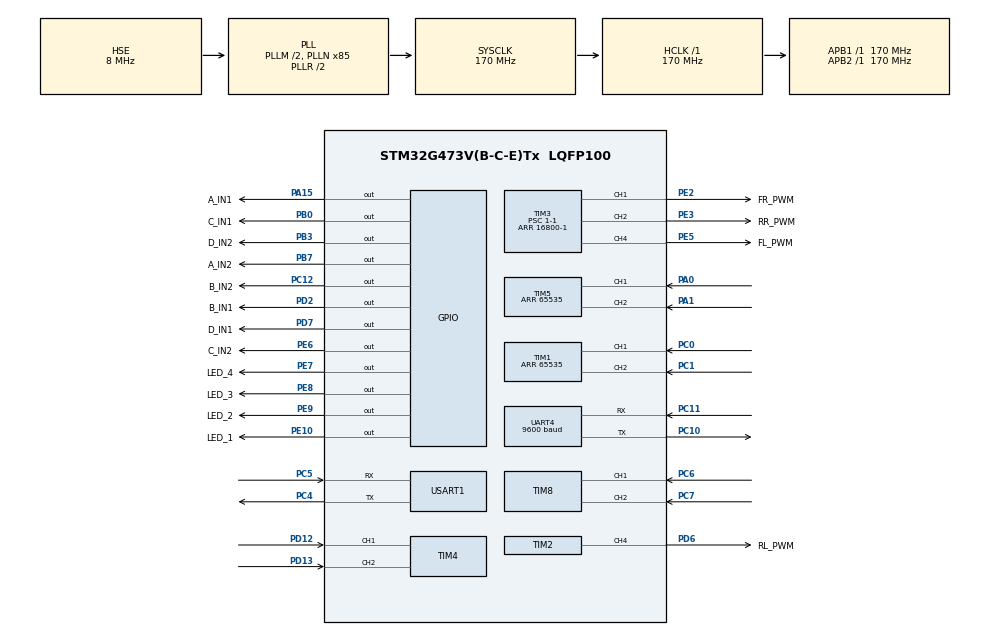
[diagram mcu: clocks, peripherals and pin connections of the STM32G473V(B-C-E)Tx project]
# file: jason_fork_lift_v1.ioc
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Mcu.Family=STM32G4
Mcu.Name=STM32G473V(B-C-E)Tx
Mcu.Package=LQFP100
NVIC.PriorityGroup=NVIC_PRIORITYGROUP_4
PA0.Signal=S_TIM5_CH1
PA1.Signal=S_TIM5_CH2
PA13.Mode=Serial_Wire
PA13.Signal=SYS_JTMS-SWDIO
PA14.Mode=Serial_Wire
PA14.Signal=SYS_JTCK-SWCLK
PA15.GPIO_Label=A_IN1
PA15.Signal=GPIO_Output
PB0.GPIO_Label=C_IN1
PB0.Signal=GPIO_Output
PB3.GPIO_Label=D_IN2
PB3.Signal=GPIO_Output
PB7.GPIO_Label=A_IN2
PB7.Signal=GPIO_Output
PC0.Signal=S_TIM1_CH1
PC1.Signal=S_TIM1_CH2
PC10.Mode=Asynchronous
PC10.Signal=UART4_TX
PC11.Mode=Asynchronous
PC11.Signal=UART4_RX
PC12.GPIO_Label=B_IN2
PC12.Signal=GPIO_Output
PC14-OSC32_IN.Mode=LSE-External-Oscillator
PC14-OSC32_IN.Signal=RCC_OSC32_IN
PC15-OSC32_OUT.Mode=LSE-External-Oscillator
PC15-OSC32_OUT.Signal=RCC_OSC32_OUT
PC4.Mode=Asynchronous
PC4.Signal=USART1_TX
PC5.Mode=Asynchronous
PC5.Signal=USART1_RX
PC6.Signal=S_TIM8_CH1
PC7.Signal=S_TIM8_CH2
PD12.Signal=S_TIM4_CH1
PD13.Signal=S_TIM4_CH2
PD2.GPIO_Label=B_IN1
PD2.Signal=GPIO_Output
PD6.GPIO_Label=RL_PWM
PD6.Signal=S_TIM2_CH4
PD7.GPIO_Label=D_IN1
PD7.Signal=GPIO_Output
PE10.GPIO_Label=LED_1
PE10.GPIO_Speed=GPIO_SPEED_FREQ_VERY_HIGH
PE10.Signal=GPIO_Output
PE2.GPIO_Label=FR_PWM
PE2.Signal=S_TIM3_CH1
PE3.GPIO_Label=RR_PWM
PE3.Signal=S_TIM3_CH2
PE5.GPIO_Label=FL_PWM
PE5.Signal=S_TIM3_CH4
PE6.GPIO_Label=C_IN2
PE6.Signal=GPIO_Output
PE7.GPIO_Label=LED_4
PE7.GPIO_Speed=GPIO_SPEED_FREQ_VERY_HIGH
PE7.Signal=GPIO_Output
PE8.GPIO_Label=LED_3
PE8.GPIO_Speed=GPIO_SPEED_FREQ_VERY_HIGH
PE8.Signal=GPIO_Output
PE9.GPIO_Label=LED_2
PE9.GPIO_Speed=GPIO_SPEED_FREQ_VERY_HIGH
PE9.Signal=GPIO_Output
PF0-OSC_IN.Mode=HSE-External-Oscillator
PF0-OSC_IN.Signal=RCC_OSC_IN
PF1-OSC_OUT.Mode=HSE-External-Oscillator
PF1-OSC_OUT.Signal=RCC_OSC_OUT
ProjectManager.HeapSize=0x200
ProjectManager.StackSize=0x400
ProjectManager.TargetToolchain=STM32CubeIDE
RCC.ADC12Freq_Value=170000000
RCC.ADC345Freq_Value=170000000
RCC.AHBFreq_Value=170000000
RCC.APB1Freq_Value=170000000
RCC.APB1TimFreq_Value=170000000
RCC.APB2Freq_Value=170000000
RCC.APB2TimFreq_Value=170000000
RCC.CortexFreq_Value=170000000
RCC.EXTERNAL_CLOCK_VALUE=12288000
RCC.HCLKFreq_Value=170000000
RCC.HSE_VALUE=8000000
RCC.HSI48_VALUE=48000000
RCC.HSI_VALUE=16000000
RCC.PLLM=RCC_PLLM_DIV2
RCC.PLLN=85
RCC.PLLSourceVirtual=RCC_PLLSOURCE_HSE
RCC.SYSCLKFreq_VALUE=170000000
RCC.SYSCLKSource=RCC_SYSCLKSOURCE_PLLCLK
RCC.USBFreq_Value=170000000
RCC.VCOOutputFreq_Value=340000000
SH.S_TIM1_CH1.0=TIM1_CH1,Encoder_Interface
SH.S_TIM1_CH2.0=TIM1_CH2,Encoder_Interface
SH.S_TIM2_CH4.0=TIM2_CH4,PWM Generation4 CH4
SH.S_TIM3_CH1.0=TIM3_CH1,PWM Generation1 CH1
SH.S_TIM3_CH2.0=TIM3_CH2,PWM Generation2 CH2
SH.S_TIM3_CH4.0=TIM3_CH4,PWM Generation4 CH4
SH.S_TIM4_CH1.0=TIM4_CH1,Encoder_Interface
SH.S_TIM4_CH2.0=TIM4_CH2,Encoder_Interface
SH.S_TIM5_CH1.0=TIM5_CH1,Encoder_Interface
SH.S_TIM5_CH2.0=TIM5_CH2,Encoder_Interface
SH.S_TIM8_CH1.0=TIM8_CH1,Encoder_Interface
SH.S_TIM8_CH2.0=TIM8_CH2,Encoder_Interface
TIM1.AutoReloadPreload=TIM_AUTORELOAD_PRELOAD_ENABLE
TIM1.EncoderMode=TIM_ENCODERMODE_TI12
TIM1.IC1Filter=10
TIM1.IC2Filter=10
TIM1.PeriodNoDither=65535
TIM2.AutoReloadPreload=TIM_AUTORELOAD_PRELOAD_ENABLE
TIM2.Channel-PWM\ Generation4\ CH4=TIM_CHANNEL_4
TIM2.PeriodNoDither=16800
TIM3.AutoReloadPreload=TIM_AUTORELOAD_PRELOAD_ENABLE
TIM3.Channel-PWM\ Generation1\ CH1=TIM_CHANNEL_1
TIM3.Channel-PWM\ Generation2\ CH2=TIM_CHANNEL_2
TIM3.Channel-PWM\ Generation4\ CH4=TIM_CHANNEL_4
TIM3.PeriodNoDither=16800-1
TIM3.Prescaler=1-1
TIM4.AutoReloadPreload=TIM_AUTORELOAD_PRELOAD_ENABLE
TIM4.EncoderMode=TIM_ENCODERMODE_TI12
TIM4.IC1Filter=10
TIM4.IC2Filter=10
TIM5.AutoReloadPreload=TIM_AUTORELOAD_PRELOAD_ENABLE
TIM5.EncoderMode=TIM_ENCODERMODE_TI12
TIM5.IC1Filter=10
TIM5.IC2Filter=10
TIM5.PeriodNoDither=65535
TIM8.AutoReloadPreload=TIM_AUTORELOAD_PRELOAD_ENABLE
TIM8.EncoderMode=TIM_ENCODERMODE_TI12
TIM8.IC1Filter=10
TIM8.IC2Filter=10
UART4.BaudRate=9600
USART1.VirtualMode-Asynchronous=VM_ASYNC
VP_SYS_VS_DBSignals.Mode=DisableDeadBatterySignals
VP_TIM2_VS_ClockSourceINT.Mode=Internal
VP_TIM3_VS_ClockSourceINT.Mode=Internal
board=custom

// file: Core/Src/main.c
/* USER CODE BEGIN Header */
/**
 ******************************************************************************
 * @file           : main.c
 * @brief          : Main program body
 ******************************************************************************
 * @attention
 *
 * Copyright (c) 2025 STMicroelectronics.
 * All rights reserved.
 *
 * This software is licensed under terms that can be found in the LICENSE file
 * in the root directory of this software component.
 * If no LICENSE file comes with this software, it is provided AS-IS.
 *
 ******************************************************************************
 */
/* USER CODE END Header */
#include "main.h"
#include "tim.h"
#include "usart.h"
#include "gpio.h"

/* USER CODE BEGIN Includes */
#include "controller.h"
#include "mech.h"
#include "movement.h"
#include "servo.h"
#include "auto_path.h"

/* USER CODE END Includes */

/* USER CODE BEGIN PD */
#define TEST 1
/* USER CODE END PD */

/* USER CODE BEGIN PV */
int test_encoder[4] = {0, 0, 0, 0};
BaseVelocity test_base_vel = {0, 0, 0};
WheelVelocity test_wheel_vel = {0, 0, 0, 0};
WheelPWM test_pwm = {0, 0, 0, 0};
WheelVelocity test_read_vel = {0, 0, 0, 0};
int time_stamp = 0;
int stage = 0;
/* USER CODE END PV */

void SystemClock_Config(void);

int main(void)
{

  /* MCU Configuration--------------------------------------------------------*/

  /* Reset of all peripherals, Initializes the Flash interface and the Systick. */
  HAL_Init();

  /* Configure the system clock */
  SystemClock_Config();

  /* Initialize all configured peripherals */
  MX_GPIO_Init();
  MX_TIM1_Init();
  MX_TIM3_Init();
  MX_TIM4_Init();
  MX_TIM5_Init();
  MX_TIM8_Init();
  MX_TIM2_Init();
  MX_UART4_Init();
  MX_USART1_UART_Init();
  /* USER CODE BEGIN 2 */
  HAL_TIM_PWM_Start(&htim3, TIM_CHANNEL_1);
  HAL_TIM_PWM_Start(&htim3, TIM_CHANNEL_2);
  HAL_TIM_PWM_Start(&htim3, TIM_CHANNEL_4);
  HAL_TIM_PWM_Start(&htim2, TIM_CHANNEL_4);
  HAL_TIM_Base_Start_IT(&htim1);
  HAL_TIM_Encoder_Start_IT(&htim1, TIM_CHANNEL_ALL);
  HAL_TIM_Base_Start_IT(&htim4);
  HAL_TIM_Encoder_Start_IT(&htim4, TIM_CHANNEL_ALL);
  HAL_TIM_Base_Start_IT(&htim5);
  HAL_TIM_Encoder_Start_IT(&htim5, TIM_CHANNEL_ALL);
  HAL_TIM_Base_Start_IT(&htim8);
  HAL_TIM_Encoder_Start_IT(&htim8, TIM_CHANNEL_ALL);

  HAL_GPIO_WritePin(LED_1_GPIO_Port, LED_1_Pin, GPIO_PIN_SET);
  HAL_GPIO_WritePin(LED_2_GPIO_Port, LED_2_Pin, GPIO_PIN_SET);
  HAL_GPIO_WritePin(LED_3_GPIO_Port, LED_3_Pin, GPIO_PIN_SET);
  HAL_GPIO_WritePin(LED_4_GPIO_Port, LED_4_Pin, GPIO_PIN_SET);

  TIM3->CCR4 = 16800 / 2;
  TIM2->CCR4 = 16800 / 2;
  TIM3->CCR2 = 16800 / 2;
  TIM3->CCR1 = 16800 / 2;

  HAL_GPIO_WritePin(C_IN1_GPIO_Port, C_IN1_Pin, GPIO_PIN_SET);
  HAL_GPIO_WritePin(C_IN2_GPIO_Port, C_IN2_Pin, GPIO_PIN_RESET);
  HAL_GPIO_WritePin(D_IN1_GPIO_Port, D_IN1_Pin, GPIO_PIN_SET);
  HAL_GPIO_WritePin(D_IN2_GPIO_Port, D_IN2_Pin, GPIO_PIN_RESET);
  HAL_GPIO_WritePin(A_IN1_GPIO_Port, A_IN1_Pin, GPIO_PIN_SET);
  HAL_GPIO_WritePin(A_IN2_GPIO_Port, A_IN2_Pin, GPIO_PIN_RESET);
  HAL_GPIO_WritePin(B_IN1_GPIO_Port, B_IN1_Pin, GPIO_PIN_SET);
  HAL_GPIO_WritePin(B_IN2_GPIO_Port, B_IN2_Pin, GPIO_PIN_RESET);

  // servo_reset_all();
  // HAL_Delay(1000);
  // HAL_GPIO_WritePin(LED_4_GPIO_Port, LED_4_Pin, GPIO_PIN_RESET);
#if (TEST == 1)
  // BaseVelocity base_vel = {1, 0, 0};
  // rotate_motor(base_vel);
#endif
  /* USER CODE END 2 */

  /* Infinite loop */
  while (1) {

    /* USER CODE BEGIN 3 */
    HAL_Delay(1);
#if (TEST == 0)
    HAL_UART_Receive(&huart1, controller_buffer, sizeof(controller_buffer), 0xFFFF);
    parse_controller_data(controller_buffer, &controller_state);
    if (controller_state.options_button) {  // turn on/off the robot
      turn_on = !turn_on;
      HAL_GPIO_WritePin(LED_1_GPIO_Port, LED_1_Pin, turn_on ? GPIO_PIN_RESET : GPIO_PIN_SET);
    }

    if (turn_on) {
      if (auto_path_selection == LEFT_PATH) {
        HAL_GPIO_WritePin(LED_2_GPIO_Port, LED_2_Pin, GPIO_PIN_SET);
        HAL_GPIO_WritePin(LED_3_GPIO_Port, LED_3_Pin, GPIO_PIN_SET);
        HAL_GPIO_WritePin(LED_4_GPIO_Port, LED_4_Pin, GPIO_PIN_RESET);
      } else if (auto_path_selection == MID_PATH) {
        HAL_GPIO_WritePin(LED_2_GPIO_Port, LED_2_Pin, GPIO_PIN_SET);
        HAL_GPIO_WritePin(LED_3_GPIO_Port, LED_3_Pin, GPIO_PIN_RESET);
        HAL_GPIO_WritePin(LED_4_GPIO_Port, LED_4_Pin, GPIO_PIN_SET);
      } else if (auto_path_selection == RIGHT_PATH) {
        HAL_GPIO_WritePin(LED_2_GPIO_Port, LED_2_Pin, GPIO_PIN_RESET);
        HAL_GPIO_WritePin(LED_3_GPIO_Port, LED_3_Pin, GPIO_PIN_SET);
        HAL_GPIO_WritePin(LED_4_GPIO_Port, LED_4_Pin, GPIO_PIN_SET);
      }

      float rotation_vel = (controller_state.l2_pressure / 1024.0 + controller_state.r2_pressure / -1024.0) * 100.0;

      if (controller_state.ps_button && !prev_auto_path_enable) {  // auto, line following
        auto_path_enable = !auto_path_enable;
        if (auto_path_enable)
          follow_auto_path(auto_path_selection);
      }
      prev_auto_path_enable = controller_state.ps_button;

      if (controller_state.cross && !prev_auto_path_switch) {
        auto_path_switch = !auto_path_switch;
        if (auto_path_selection == LEFT_PATH)
          auto_path_selection = MID_PATH;
        else if (auto_path_selection == MID_PATH)
          auto_path_selection = RIGHT_PATH;
        else if (auto_path_selection == RIGHT_PATH)
          auto_path_selection = LEFT_PATH;
      }  // auto, choose path, toggle left / right / straight forward
      prev_auto_path_switch = controller_state.cross;

      // if (controller_state.l_stick_x == 0 && controller_state.r_stick_x == 0 && !controller_state.r1 && !controller_state.l1 && rotation_vel != 0) {  // rotate, r2 or l2
      //   BaseVelocity target_vel = {0, 0, rotation_vel / 100.0 * ROBOT_MAX_Z_VELOCITY};
      //   movement_control(target_vel);
      // } else if (controller_state.r_stick_x == 0 && controller_state.r_stick_y == 0 && !controller_state.r1 && !controller_state.l1) {  // move fastly, left joy stick
      //   BaseVelocity target_vel = {controller_state.l_stick_y / 100.0 * ROBOT_MAX_Y_VELOCITY,
      //                              controller_state.l_stick_x / 100.0 * ROBOT_MAX_X_VELOCITY,
      //                              0};
      //   movement_control(target_vel);
      // } else if (!controller_state.r1 && !controller_state.l1) {  // move slowly, right joy stick
      //   BaseVelocity target_vel = {controller_state.l_stick_y / 100.0 * ROBOT_MAX_Y_VELOCITY * 0.5,
      //                              controller_state.l_stick_x / 100.0 * ROBOT_MAX_X_VELOCITY * 0.5,
      //                              0};
      //   movement_control(target_vel);
      // } else {  // rotate slowly, l1 or r1
      //   BaseVelocity target_vel = {0, 0, 0};
      //   if (controller_state.l1)
      //     target_vel.z_vel = ROBOT_MAX_Z_VELOCITY * 0.5;
      //   else if (controller_state.r1)
      //     target_vel.z_vel = ROBOT_MAX_Z_VELOCITY * -0.5;
      //   movement_control(target_vel);
      // }

      if (controller_state.r1) {
        BaseVelocity target_vel = {0, 0, ROBOT_MAX_Z_VELOCITY * 0.35};
        movement_control(target_vel);
      } else if (controller_state.l1) {
        BaseVelocity target_vel = {0, 0, ROBOT_MAX_Z_VELOCITY * -0.35};
        movement_control(target_vel);
      } else if (controller_state.up) {
        BaseVelocity target_vel = {0,
                                   ROBOT_MAX_Y_VELOCITY * 0.5,
                                   0};
        movement_control(target_vel);
      } else if (controller_state.down) {
        BaseVelocity target_vel = {0,
                                   ROBOT_MAX_Y_VELOCITY * -0.5,
                                   0};
        movement_control(target_vel);
      } else if (controller_state.left) {
        BaseVelocity target_vel = {ROBOT_MAX_X_VELOCITY * -0.5,
                                   0,
                                   0};
        movement_control(target_vel);
      } else if (controller_state.right) {
        BaseVelocity target_vel = {ROBOT_MAX_X_VELOCITY * 0.5,
                                   0,
                                   0};
        movement_control(target_vel);
      } else {
        WheelPWM target_pwm = {0, 0, 0, 0};
        wheels_control(target_pwm);
      }

      if (controller_state.triangle) {
        catch_move_down();
        HAL_GPIO_WritePin(LED_2_GPIO_Port, LED_2_Pin, GPIO_PIN_RESET);
      } else if (controller_state.cross)
        catch_move_up();
      else if (controller_state.share_button) {
        catch_reset();
        HAL_GPIO_WritePin(LED_2_GPIO_Port, LED_2_Pin, GPIO_PIN_SET);
      }

      if (controller_state.circle)
        container_move_down();
      else if (controller_state.square)
        container_reset();
    }
#else
    if (HAL_GetTick() - time_stamp > 3000) {
      time_stamp = HAL_GetTick();
      HAL_GPIO_TogglePin(C_IN1_GPIO_Port, C_IN1_Pin);
      HAL_GPIO_TogglePin(C_IN2_GPIO_Port, C_IN2_Pin);
      HAL_GPIO_TogglePin(D_IN1_GPIO_Port, D_IN1_Pin);
      HAL_GPIO_TogglePin(D_IN2_GPIO_Port, D_IN2_Pin);
      HAL_GPIO_TogglePin(A_IN1_GPIO_Port, A_IN1_Pin);
      HAL_GPIO_TogglePin(A_IN2_GPIO_Port, A_IN2_Pin);
      HAL_GPIO_TogglePin(B_IN1_GPIO_Port, B_IN1_Pin);
      HAL_GPIO_TogglePin(B_IN2_GPIO_Port, B_IN2_Pin);
    }
    // test_base_vel.x_vel = 0;
    // test_base_vel.y_vel = 0;
    // test_base_vel.z_vel = ROBOT_MAX_Z_VELOCITY;
    // test_base_vel.x_vel = ROBOT_MAX_X_VELOCITY;
    // test_base_vel.y_vel = 0;
    // test_base_vel.z_vel = 0;
    // test_base_vel.x_vel = ROBOT_MAX_X_VELOCITY;
    // test_base_vel.y_vel = 0;
    // test_base_vel.z_vel = 0;
    // movement_control(test_base_vel);
    // if (HAL_GetTick() - test_duration > 5000) {
    //   test_duration = HAL_GetTick();
    //   test_count++;
    //   if (test_count == 3)
    //     test_count = 0;
    // }
    // if (test_count == 1) {
    //   servo_move(&(servos[4]), 500 + 380, SHORTEST_TIME_ROTATE(5, 380));
    //   test_var_1 = SHORTEST_TIME_ROTATE(5, 380);
    // }
    // else if (test_count == 2)
    //   servo_reset_all();
#endif
  }
  /* USER CODE END 3 */
}

void SystemClock_Config(void)
{
  RCC_OscInitTypeDef RCC_OscInitStruct = {0};
  RCC_ClkInitTypeDef RCC_ClkInitStruct = {0};

  /** Configure the main internal regulator output voltage
  */
  HAL_PWREx_ControlVoltageScaling(PWR_REGULATOR_VOLTAGE_SCALE1_BOOST);

  /** Initializes the RCC Oscillators according to the specified parameters
  * in the RCC_OscInitTypeDef structure.
  */
  RCC_OscInitStruct.OscillatorType = RCC_OSCILLATORTYPE_HSE;
  RCC_OscInitStruct.HSEState = RCC_HSE_ON;
  RCC_OscInitStruct.PLL.PLLState = RCC_PLL_ON;
  RCC_OscInitStruct.PLL.PLLSource = RCC_PLLSOURCE_HSE;
  RCC_OscInitStruct.PLL.PLLM = RCC_PLLM_DIV2;
  RCC_OscInitStruct.PLL.PLLN = 85;
  RCC_OscInitStruct.PLL.PLLP = RCC_PLLP_DIV2;
  RCC_OscInitStruct.PLL.PLLQ = RCC_PLLQ_DIV2;
  RCC_OscInitStruct.PLL.PLLR = RCC_PLLR_DIV2;
  if (HAL_RCC_OscConfig(&RCC_OscInitStruct) != HAL_OK)
  {
    Error_Handler();
  }

  /** Initializes the CPU, AHB and APB buses clocks
  */
  RCC_ClkInitStruct.ClockType = RCC_CLOCKTYPE_HCLK|RCC_CLOCKTYPE_SYSCLK
                              |RCC_CLOCKTYPE_PCLK1|RCC_CLOCKTYPE_PCLK2;
  RCC_ClkInitStruct.SYSCLKSource = RCC_SYSCLKSOURCE_PLLCLK;
  RCC_ClkInitStruct.AHBCLKDivider = RCC_SYSCLK_DIV1;
  RCC_ClkInitStruct.APB1CLKDivider = RCC_HCLK_DIV1;
  RCC_ClkInitStruct.APB2CLKDivider = RCC_HCLK_DIV1;

  if (HAL_RCC_ClockConfig(&RCC_ClkInitStruct, FLASH_LATENCY_4) != HAL_OK)
  {
    Error_Handler();
  }
}

void Error_Handler(void)
{
  __disable_irq();
  while (1) {
  }
}
